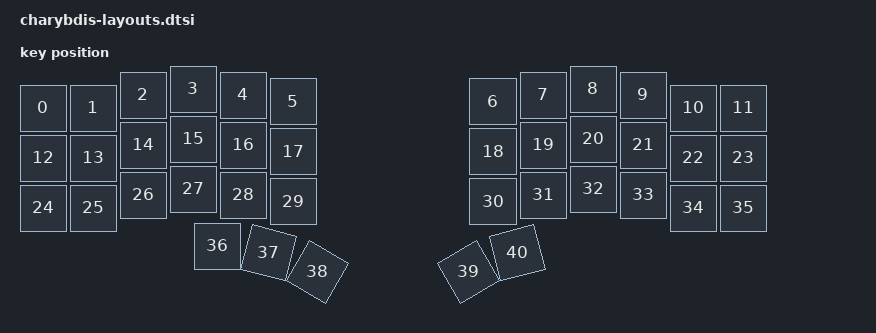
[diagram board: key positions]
#include <physical_layouts.dtsi>

/ {
    physical_layout0: physical_layout_0 {
        compatible = "zmk,physical-layout";
        display-name = "Default Layout";
        kscan = <&kscan0>;
        transform = <&default_transform>;

        keys  //                     w   h    x    y     rot    rx    ry
            = <&key_physical_attrs 100 100    0   38       0     0     0>
            , <&key_physical_attrs 100 100  100   38       0     0     0>
            , <&key_physical_attrs 100 100  200   12       0     0     0>
            , <&key_physical_attrs 100 100  300    0       0     0     0>
            , <&key_physical_attrs 100 100  400   12       0     0     0>
            , <&key_physical_attrs 100 100  500   25       0     0     0>
            , <&key_physical_attrs 100 100  900   25       0     0     0>
            , <&key_physical_attrs 100 100 1000   12       0     0     0>
            , <&key_physical_attrs 100 100 1100    0       0     0     0>
            , <&key_physical_attrs 100 100 1200   12       0     0     0>
            , <&key_physical_attrs 100 100 1300   38       0     0     0>
            , <&key_physical_attrs 100 100 1400   38       0     0     0>
            , <&key_physical_attrs 100 100    0  138       0     0     0>
            , <&key_physical_attrs 100 100  100  138       0     0     0>
            , <&key_physical_attrs 100 100  200  112       0     0     0>
            , <&key_physical_attrs 100 100  300  100       0     0     0>
            , <&key_physical_attrs 100 100  400  112       0     0     0>
            , <&key_physical_attrs 100 100  500  125       0     0     0>
            , <&key_physical_attrs 100 100  900  125       0     0     0>
            , <&key_physical_attrs 100 100 1000  112       0     0     0>
            , <&key_physical_attrs 100 100 1100  100       0     0     0>
            , <&key_physical_attrs 100 100 1200  112       0     0     0>
            , <&key_physical_attrs 100 100 1300  138       0     0     0>
            , <&key_physical_attrs 100 100 1400  138       0     0     0>
            , <&key_physical_attrs 100 100    0  238       0     0     0>
            , <&key_physical_attrs 100 100  100  238       0     0     0>
            , <&key_physical_attrs 100 100  200  212       0     0     0>
            , <&key_physical_attrs 100 100  300  200       0     0     0>
            , <&key_physical_attrs 100 100  400  212       0     0     0>
            , <&key_physical_attrs 100 100  500  225       0     0     0>
            , <&key_physical_attrs 100 100  900  225       0     0     0>
            , <&key_physical_attrs 100 100 1000  212       0     0     0>
            , <&key_physical_attrs 100 100 1100  200       0     0     0>
            , <&key_physical_attrs 100 100 1200  212       0     0     0>
            , <&key_physical_attrs 100 100 1300  238       0     0     0>
            , <&key_physical_attrs 100 100 1400  238       0     0     0>
            , <&key_physical_attrs 100 100  348  314       0     0     0>
            , <&key_physical_attrs 100 100  348  314    1500   398   764>
            , <&key_physical_attrs 100 100  348  312    3000   398   764>
            , <&key_physical_attrs 100 100 1052  312 (-3000)  1102   764>
            , <&key_physical_attrs 100 100 1052  314 (-1500)  1102   764>
            ;
    };
};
